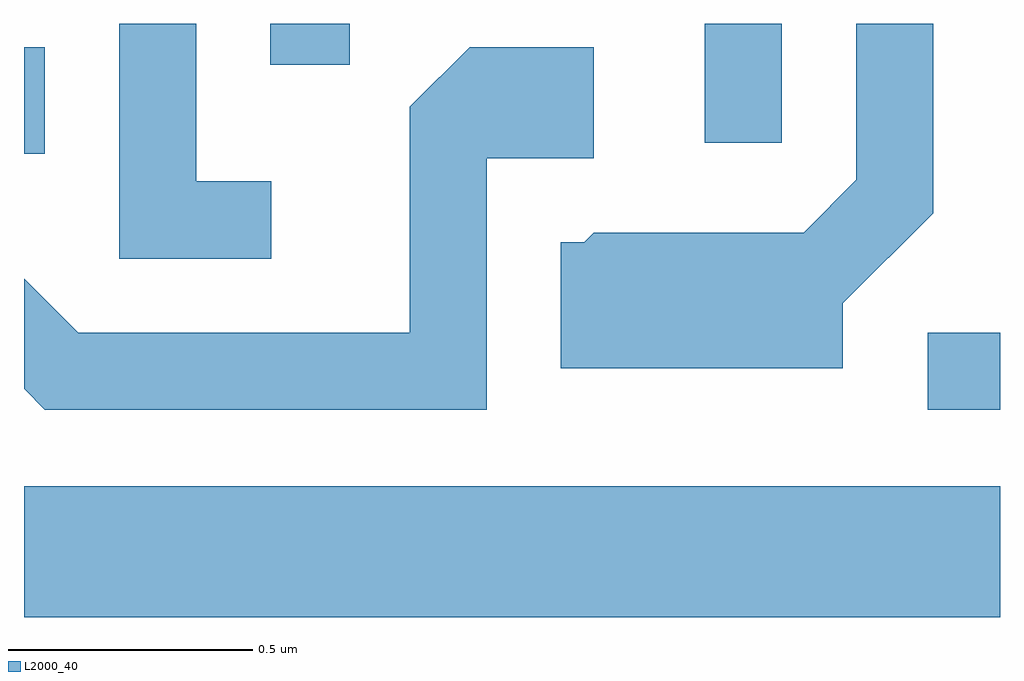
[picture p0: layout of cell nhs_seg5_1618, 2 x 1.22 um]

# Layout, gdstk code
import gdstk
lib = gdstk.Library(unit=1e-6, precision=1e-09)
def R(c, l, rs):  # rectangles x0, y0, x1, y1
    for r in rs: c.add(gdstk.rectangle(r[:2], r[2:], *l))
def P(c, l, *ps):  # polygons
    for p in ps: c.add(gdstk.Polygon(p, *l))
L2000_40 = (2000, 40)

nhs_seg5_1618 = lib.new_cell('nhs_seg5_1618')
R(nhs_seg5_1618, L2000_40, [(196.611,1507.856,198.611,1508.124), (198.463,1508.281,198.611,1508.439), (196.611,1508.806,196.654,1509.024), (198.006,1508.828,198.164,1509.072), (197.116,1508.988,197.279,1509.072)])
P(nhs_seg5_1618, L2000_40, [(198.289,1508.499),(198.474,1508.684),(198.474,1509.072),(198.316,1509.072),(198.316,1508.752),(198.209,1508.644),(197.779,1508.644),(197.759,1508.624),(197.711,1508.624),(197.711,1508.366),(198.289,1508.366)],
  [(197.118,1508.749),(196.964,1508.749),(196.964,1509.072),(196.806,1509.072),(196.806,1508.591),(197.118,1508.591)],
  [(197.559,1508.796),(197.779,1508.796),(197.779,1509.024),(197.524,1509.024),(197.401,1508.902),(197.401,1508.439),(196.722,1508.439),(196.611,1508.55),(196.611,1508.324),(196.654,1508.281),(197.559,1508.281)])

lib.write_gds('nhs_seg5_1618.gds')
